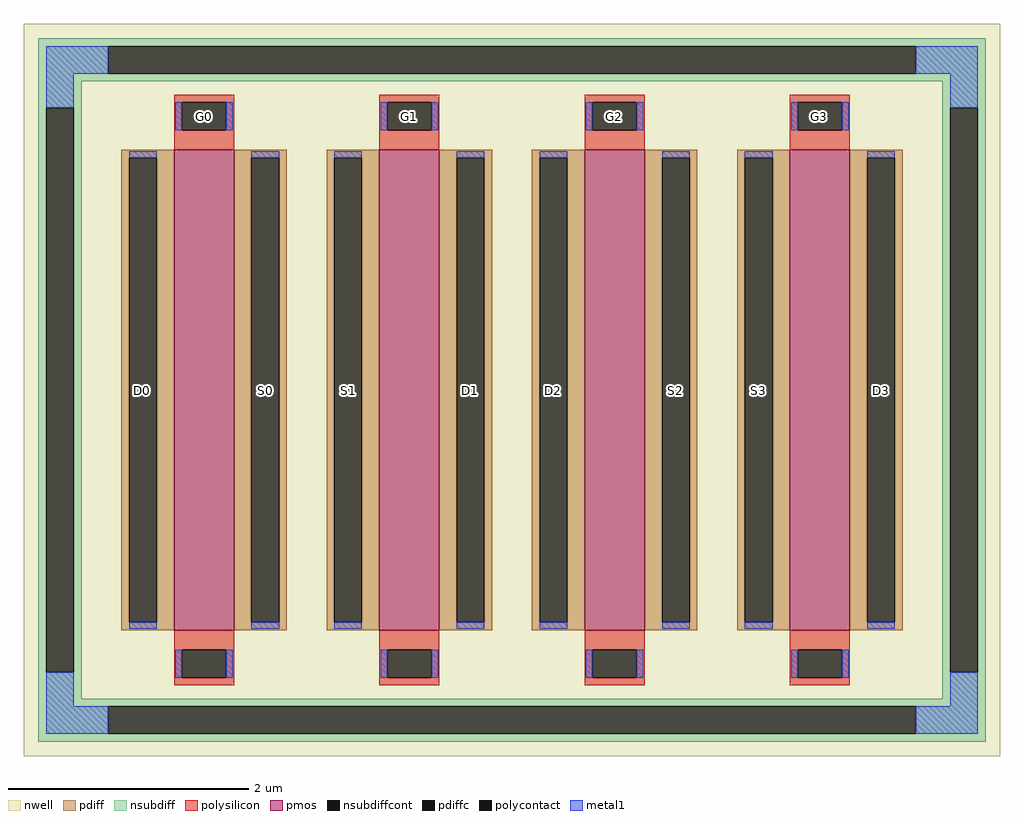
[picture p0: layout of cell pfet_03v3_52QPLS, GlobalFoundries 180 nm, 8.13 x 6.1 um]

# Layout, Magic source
magic
tech gf180mcuD
magscale 1 10
<< nwell >>
rect -813 -610 813 610
<< pmos >>
rect -563 -400 -463 400
rect -221 -400 -121 400
rect 121 -400 221 400
rect 463 -400 563 400
<< pdiff >>
rect -651 387 -563 400
rect -651 -387 -638 387
rect -592 -387 -563 387
rect -651 -400 -563 -387
rect -463 387 -375 400
rect -463 -387 -434 387
rect -388 -387 -375 387
rect -463 -400 -375 -387
rect -309 387 -221 400
rect -309 -387 -296 387
rect -250 -387 -221 387
rect -309 -400 -221 -387
rect -121 387 -33 400
rect -121 -387 -92 387
rect -46 -387 -33 387
rect -121 -400 -33 -387
rect 33 387 121 400
rect 33 -387 46 387
rect 92 -387 121 387
rect 33 -400 121 -387
rect 221 387 309 400
rect 221 -387 250 387
rect 296 -387 309 387
rect 221 -400 309 -387
rect 375 387 463 400
rect 375 -387 388 387
rect 434 -387 463 387
rect 375 -400 463 -387
rect 563 387 651 400
rect 563 -387 592 387
rect 638 -387 651 387
rect 563 -400 651 -387
<< pdiffc >>
rect -638 -387 -592 387
rect -434 -387 -388 387
rect -296 -387 -250 387
rect -92 -387 -46 387
rect 46 -387 92 387
rect 250 -387 296 387
rect 388 -387 434 387
rect 592 -387 638 387
<< nsubdiff >>
rect -789 573 789 586
rect -789 527 -673 573
rect 673 527 789 573
rect -789 514 789 527
rect -789 470 -717 514
rect -789 -470 -776 470
rect -730 -470 -717 470
rect 717 470 789 514
rect -789 -514 -717 -470
rect 717 -470 730 470
rect 776 -470 789 470
rect 717 -514 789 -470
rect -789 -527 789 -514
rect -789 -573 -673 -527
rect 673 -573 789 -527
rect -789 -586 789 -573
<< nsubdiffcont >>
rect -673 527 673 573
rect -776 -470 -730 470
rect 730 -470 776 470
rect -673 -573 673 -527
<< polysilicon >>
rect -563 479 -463 492
rect -563 433 -550 479
rect -476 433 -463 479
rect -563 400 -463 433
rect -221 479 -121 492
rect -221 433 -208 479
rect -134 433 -121 479
rect -221 400 -121 433
rect 121 479 221 492
rect 121 433 134 479
rect 208 433 221 479
rect 121 400 221 433
rect 463 479 563 492
rect 463 433 476 479
rect 550 433 563 479
rect 463 400 563 433
rect -563 -433 -463 -400
rect -563 -479 -550 -433
rect -476 -479 -463 -433
rect -563 -492 -463 -479
rect -221 -433 -121 -400
rect -221 -479 -208 -433
rect -134 -479 -121 -433
rect -221 -492 -121 -479
rect 121 -433 221 -400
rect 121 -479 134 -433
rect 208 -479 221 -433
rect 121 -492 221 -479
rect 463 -433 563 -400
rect 463 -479 476 -433
rect 550 -479 563 -433
rect 463 -492 563 -479
<< polycontact >>
rect -550 433 -476 479
rect -208 433 -134 479
rect 134 433 208 479
rect 476 433 550 479
rect -550 -479 -476 -433
rect -208 -479 -134 -433
rect 134 -479 208 -433
rect 476 -479 550 -433
<< metal1 >>
rect -776 527 -673 573
rect 673 527 776 573
rect -776 470 -730 527
rect -561 433 -550 479
rect -476 433 -465 479
rect -219 433 -208 479
rect -134 433 -123 479
rect 123 433 134 479
rect 208 433 219 479
rect 465 433 476 479
rect 550 433 561 479
rect 730 470 776 527
rect -638 387 -592 398
rect -638 -398 -592 -387
rect -434 387 -388 398
rect -434 -398 -388 -387
rect -296 387 -250 398
rect -296 -398 -250 -387
rect -92 387 -46 398
rect -92 -398 -46 -387
rect 46 387 92 398
rect 46 -398 92 -387
rect 250 387 296 398
rect 250 -398 296 -387
rect 388 387 434 398
rect 388 -398 434 -387
rect 592 387 638 398
rect 592 -398 638 -387
rect -776 -527 -730 -470
rect -561 -479 -550 -433
rect -476 -479 -465 -433
rect -219 -479 -208 -433
rect -134 -479 -123 -433
rect 123 -479 134 -433
rect 208 -479 219 -433
rect 465 -479 476 -433
rect 550 -479 561 -433
rect 730 -527 776 -470
rect -776 -573 -673 -527
rect 673 -573 776 -527
<< labels >>
rlabel pdiffc -615 0 -615 0 0 D0
port 1 nsew
rlabel pdiffc -411 0 -411 0 0 S0
port 2 nsew
rlabel polycontact -513 456 -513 456 0 G0
port 3 nsew
rlabel pdiffc -69 0 -69 0 0 D1
port 4 nsew
rlabel pdiffc -273 0 -273 0 0 S1
port 5 nsew
rlabel polycontact -171 456 -171 456 0 G1
port 6 nsew
rlabel pdiffc 69 0 69 0 0 D2
port 7 nsew
rlabel pdiffc 273 0 273 0 0 S2
port 8 nsew
rlabel polycontact 171 456 171 456 0 G2
port 9 nsew
rlabel pdiffc 615 0 615 0 0 D3
port 10 nsew
rlabel pdiffc 411 0 411 0 0 S3
port 11 nsew
rlabel polycontact 513 456 513 456 0 G3
port 12 nsew
<< properties >>
string FIXED_BBOX -753 -550 753 550
string gencell pfet_03v3
string library gf180mcu
string parameters w 4.0 l 0.5 m 1 nf 4 diffcov 100 polycov 100 guard 1 glc 1 grc 1 gtc 1 gbc 1 tbcov 100 rlcov 100 topc 1 botc 1 poverlap 0 doverlap 0 lmin 0.28 wmin 0.22 class mosfet full_metal 1 viasrc 0 viadrn 0 viagate 0 viagb 0 viagr 0 viagl 0 viagt 0 doports 1 compatible {pfet_03v3 pfet_05v0 pfet_06v0}
<< end >>
